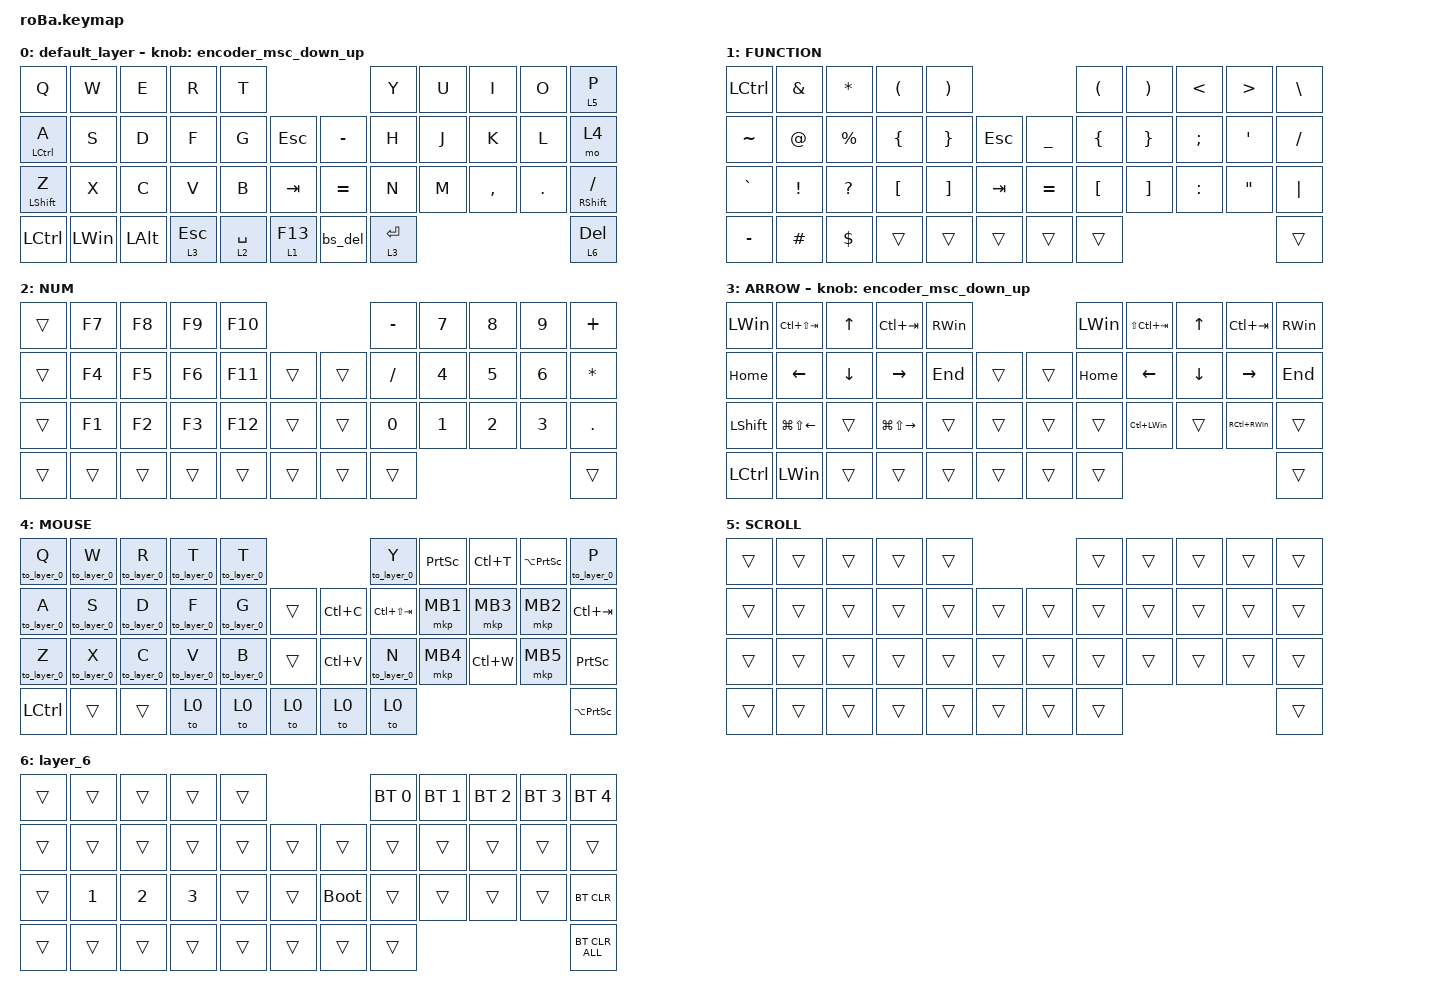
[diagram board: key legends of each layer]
#define ZMK_POINTING_DEFAULT_SCRL_VAL 80

#include <behaviors.dtsi>
#include <dt-bindings/zmk/bt.h>
#include <dt-bindings/zmk/keys.h>
#include <dt-bindings/zmk/pointing.h>

&mt {
    flavor = "balanced";
    quick-tap-ms = <100>;
};

&trackball {
    // automouse-layer = <4>;

    scroll-layers = <5>;

    // arrows {
    //     layers = <3>;
    //     bindings =
    //         <&kp RIGHT_ARROW>,
    //         <&kp LEFT_ARROW>,
    //         <&kp UP_ARROW>,
    //         <&kp DOWN_ARROW>;
    //     tick = <10>;
    //     wait-ms = <5>;
    //     tap-ms = <5>;
    // };
};

/ {
    combos {
        compatible = "zmk,combos";

        tab {
            bindings = <&kp TAB>;
            key-positions = <11 12>;
        };

        shift_tab {
            bindings = <&kp LS(TAB)>;
            key-positions = <12 13>;
        };

        muhennkann {
            bindings = <&to_layer_0 INT_MUHENKAN>;
            key-positions = <11 10>;
        };

        double_quotation {
            bindings = <&kp DOUBLE_QUOTES>;
            key-positions = <20 21>;
        };

        eq {
            bindings = <&kp EQUAL>;
            key-positions = <24 25>;
        };
    };

    macros {
        to_layer_0: to_layer_0 {
            compatible = "zmk,behavior-macro-one-param";
            #binding-cells = <1>;
            bindings = <&to 0 &macro_param_1to1 &kp MACRO_PLACEHOLDER>;
            label = "TO_LAYER_0";
        };
    };

    behaviors {
        lt_to_layer_0: lt_to_layer_0 {
            compatible = "zmk,behavior-hold-tap";
            label = "LAYER_TAP_TO_0";
            bindings = <&mo>, <&to_layer_0>;

            #binding-cells = <2>;
            tapping-term-ms = <180>;
        };

        encoder_msc_down_up: encoder_msc_down_up {
            compatible = "zmk,behavior-sensor-rotate";
            label = "ENCODER_MSC_DOWN_UP";
            #sensor-binding-cells = <0>;
            bindings = <&msc SCRL_DOWN>, <&msc SCRL_UP>;

            tap-ms = <20>;
        };

        bs_del: bs_del {
            compatible = "zmk,behavior-mod-morph";
            #binding-cells = <0>;
            bindings = <&kp BACKSPACE>, <&kp DELETE>;

            mods = <(MOD_LSFT|MOD_RSFT)>;
        };
    };

    keymap {
        compatible = "zmk,keymap";

        default_layer {
            bindings = <
&kp Q             &kp W     &kp E     &kp R         &kp T                                  &kp Y        &kp U  &kp I      &kp O    &lt 5 P
&mt LCTRL A       &kp S     &kp D     &kp F         &kp G        &kp ESC        &kp MINUS  &kp H        &kp J  &kp K      &kp L    &mo 4
&mt LEFT_SHIFT Z  &kp X     &kp C     &kp V         &kp B        &kp TAB        &kp EQUAL  &kp N        &kp M  &kp COMMA  &kp DOT  &mt RIGHT_SHIFT SLASH
&kp LCTRL         &kp LWIN  &kp LALT  &lt 3 ESCAPE  &lt 2 SPACE  &lt 1 F13      &bs_del    &lt 3 ENTER                             &lt 6 DEL
            >;

            sensor-bindings = <&encoder_msc_down_up>;
        };

        FUNCTION {
            bindings = <
&kp LCTRL  &kp AMPERSAND    &kp ASTERISK  &kp LPAR          &kp RPAR                                           &kp LPAR  &kp RPAR  &kp LESS_THAN  &kp GREATER_THAN   &kp BACKSLASH
&kp TILDE  &kp AT_SIGN      &kp PERCENT   &kp LEFT_BRACE    &kp RIGHT_BRACE    &kp ESCAPE      &kp UNDERSCORE  &kp LBRC  &kp RBRC  &kp SEMI       &kp SQT            &kp SLASH
&kp GRAVE  &kp EXCLAMATION  &kp QUESTION  &kp LEFT_BRACKET  &kp RIGHT_BRACKET  &kp TAB         &kp EQUAL       &kp LBKT  &kp RBKT  &kp COLON      &kp DOUBLE_QUOTES  &kp PIPE
&kp MINUS  &kp HASH         &kp DOLLAR    &trans            &trans             &trans          &trans          &trans                                                &trans
            >;
        };

        NUM {
            bindings = <
&trans  &kp F7  &kp F8  &kp F9  &kp F10                      &kp MINUS     &kp NUMBER_7  &kp NUMBER_8  &kp NUMBER_9  &kp PLUS
&trans  &kp F4  &kp F5  &kp F6  &kp F11  &trans      &trans  &kp SLASH     &kp NUMBER_4  &kp NUMBER_5  &kp NUMBER_6  &kp ASTERISK
&trans  &kp F1  &kp F2  &kp F3  &kp F12  &trans      &trans  &kp NUMBER_0  &kp NUMBER_1  &kp NUMBER_2  &kp NUMBER_3  &kp PERIOD
&trans  &trans  &trans  &trans  &trans   &trans      &trans  &trans                                                  &trans
            >;
        };

        ARROW {
            bindings = <
&kp LEFT_WIN      &kp LC(LS(TAB))         &kp UP_ARROW    &kp LC(TAB)              &kp RIGHT_WIN                      &kp LEFT_WIN  &kp LS(LC(TAB))   &kp UP_ARROW    &kp LC(TAB)        &kp RIGHT_WIN
&kp HOME          &kp LEFT_ARROW          &kp DOWN_ARROW  &kp RIGHT_ARROW          &kp END        &trans      &trans  &kp HOME      &kp LEFT          &kp DOWN_ARROW  &kp RIGHT          &kp END
&kp LEFT_SHIFT    &kp LG(LS(LEFT_ARROW))  &trans          &kp LG(LS(RIGHT_ARROW))  &trans         &trans      &trans  &trans        &kp LC(LEFT_WIN)  &trans          &kp RC(RIGHT_WIN)  &trans
&kp LEFT_CONTROL  &kp LEFT_WIN            &trans          &trans                   &trans         &trans      &trans  &trans                                                             &trans
            >;

            sensor-bindings = <&encoder_msc_down_up>;
        };

        MOUSE {
            bindings = <
&to_layer_0 Q     &to_layer_0 W  &to_layer_0 R  &to_layer_0 T  &to_layer_0 T                         &to_layer_0 Y    &kp PRINTSCREEN  &kp LC(T)  &kp LA(PRINTSCREEN)  &to_layer_0 P
&to_layer_0 A     &to_layer_0 S  &to_layer_0 D  &to_layer_0 F  &to_layer_0 G  &trans      &kp LC(C)  &kp LC(LS(TAB))  &mkp MB1         &mkp MB3   &mkp MB2             &kp LC(TAB)
&to_layer_0 Z     &to_layer_0 X  &to_layer_0 C  &to_layer_0 V  &to_layer_0 B  &trans      &kp LC(V)  &to_layer_0 N    &mkp MB4         &kp LC(W)  &mkp MB5             &kp PRINTSCREEN
&kp LEFT_CONTROL  &trans         &trans         &to 0          &to 0          &to 0       &to 0      &to 0                                                             &kp LA(PRINTSCREEN)
            >;
        };

        SCROLL {
            bindings = <
&trans  &trans  &trans  &trans  &trans                      &trans  &trans  &trans  &trans  &trans
&trans  &trans  &trans  &trans  &trans  &trans      &trans  &trans  &trans  &trans  &trans  &trans
&trans  &trans  &trans  &trans  &trans  &trans      &trans  &trans  &trans  &trans  &trans  &trans
&trans  &trans  &trans  &trans  &trans  &trans      &trans  &trans                          &trans
            >;
        };

        layer_6 {
            bindings = <
&trans  &trans        &trans        &trans        &trans                           &bt BT_SEL 0  &bt BT_SEL 1  &bt BT_SEL 2  &bt BT_SEL 3  &bt BT_SEL 4
&trans  &trans        &trans        &trans        &trans  &trans      &trans       &trans        &trans        &trans        &trans        &trans
&trans  &kp NUMBER_1  &kp NUMBER_2  &kp NUMBER_3  &trans  &trans      &bootloader  &trans        &trans        &trans        &trans        &bt BT_CLR
&trans  &trans        &trans        &trans        &trans  &trans      &trans       &trans                                                  &bt BT_CLR_ALL
            >;
        };
    };
};
